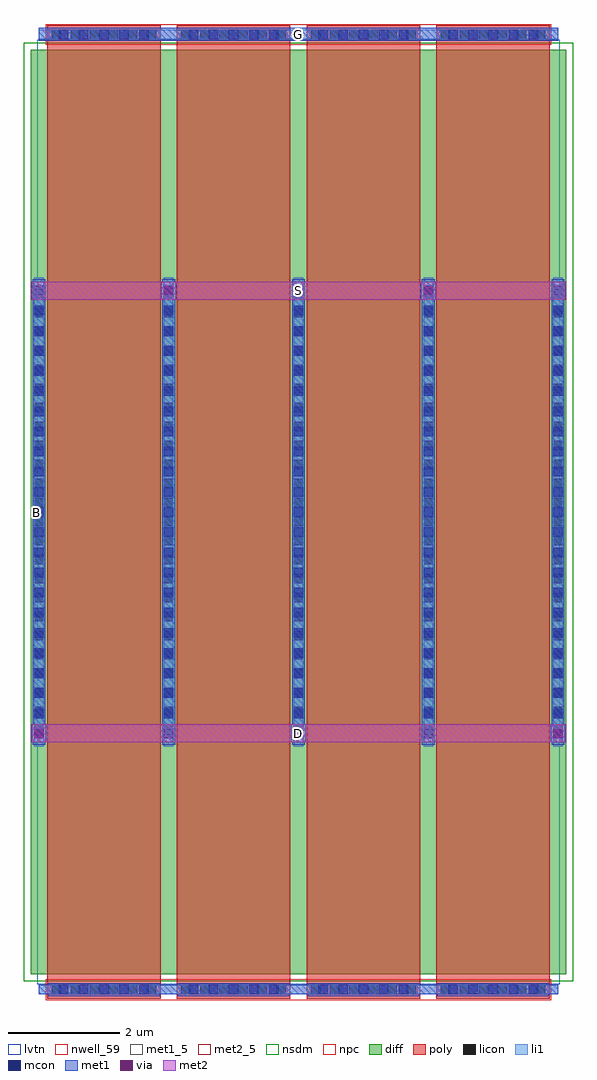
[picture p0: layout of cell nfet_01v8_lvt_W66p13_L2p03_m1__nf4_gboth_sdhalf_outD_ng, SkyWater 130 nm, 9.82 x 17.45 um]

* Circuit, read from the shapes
.subckt nfet_01v8_lvt_W66p13_L2p03_m1__nf4_gboth_sdhalf_outD_ng B D G S
XM1 S G D B sky130_fd_pr__nfet_01v8_lvt w=16.53 l=2.03 m=4
.ends

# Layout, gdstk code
import gdstk
lib = gdstk.Library(unit=1e-6, precision=1e-09)
def R(c, l, rs):  # rectangles x0, y0, x1, y1
    for r in rs: c.add(gdstk.rectangle(r[:2], r[2:], *l))
def A(c, l, x, y, w, h, nx, ny, dx, dy):  # array of equal rectangles
    R(c, l, [(x+i*dx, y+j*dy, x+i*dx+w, y+j*dy+h) for i in range(nx) for j in range(ny)])
nwell_59 = (64, 59)
diff = (65, 20)
poly = (66, 20)
licon = (66, 44)
li1 = (67, 20)
mcon = (67, 44)
met1_5 = (68, 5)
met1 = (68, 20)
via = (68, 44)
met2_5 = (69, 5)
met2 = (69, 20)
nsdm = (93, 44)
npc = (95, 20)
lvtn = (125, 44)

sky130_fd_pr__nfet_01v8_ = lib.new_cell('sky130_fd_pr__nfet_01v8_lvt_AA3YVK')
R(sky130_fd_pr__nfet_01v8_, diff, [(-4.785,-8.265,4.785,8.265)])
A(sky130_fd_pr__nfet_01v8_, poly, -4.495, -8.705, 2.03, 17.41, 4, 1, 2.32, 0)
A(sky130_fd_pr__nfet_01v8_, licon, -4.415, -8.625, 0.17, 0.17, 6, 2, 0.34, 17.08)
A(sky130_fd_pr__nfet_01v8_, licon, -2.095, -8.625, 0.17, 0.17, 6, 2, 0.34, 17.08)
A(sky130_fd_pr__nfet_01v8_, licon, 0.225, -8.625, 0.17, 0.17, 6, 2, 0.34, 17.08)
A(sky130_fd_pr__nfet_01v8_, licon, 2.545, -8.625, 0.17, 0.17, 6, 2, 0.34, 17.08)
A(sky130_fd_pr__nfet_01v8_, licon, -4.725, -3.995, 0.17, 0.17, 5, 24, 2.32, 0.34)
A(sky130_fd_pr__nfet_01v8_, li1, -4.725, -4.185, 0.17, 8.37, 5, 1, 2.32, 0)
R(sky130_fd_pr__nfet_01v8_, li1, [(-4.64,-8.625,4.64,-8.455), (-4.64,8.455,4.64,8.625)])
A(sky130_fd_pr__nfet_01v8_, mcon, -4.285, -8.625, 0.17, 0.17, 5, 2, 0.36, 17.08)
A(sky130_fd_pr__nfet_01v8_, mcon, -1.965, -8.625, 0.17, 0.17, 5, 2, 0.36, 17.08)
A(sky130_fd_pr__nfet_01v8_, mcon, 0.355, -8.625, 0.17, 0.17, 5, 2, 0.36, 17.08)
A(sky130_fd_pr__nfet_01v8_, mcon, 2.675, -8.625, 0.17, 0.17, 5, 2, 0.36, 17.08)
A(sky130_fd_pr__nfet_01v8_, mcon, -4.725, -4.045, 0.17, 0.17, 5, 23, 2.32, 0.36)
A(sky130_fd_pr__nfet_01v8_, met1, -4.475, -8.655, 1.99, 0.03, 4, 2, 2.32, 0.2)
A(sky130_fd_pr__nfet_01v8_, met1, -4.755, -4.165, 0.23, 8.33, 5, 1, 2.32, 0)
A(sky130_fd_pr__nfet_01v8_, met1, -4.475, 8.425, 1.99, 0.03, 4, 2, 2.32, 0.2)
R(sky130_fd_pr__nfet_01v8_, met1, [(-4.64,-8.625,4.64,-8.455), (-4.64,8.455,4.64,8.625)])
R(sky130_fd_pr__nfet_01v8_, nsdm, [(-4.91,-8.39,4.91,8.39)])
R(sky130_fd_pr__nfet_01v8_, npc, [(-4.515,-8.725,4.515,-8.355), (-4.515,8.355,4.515,8.725)])
R(sky130_fd_pr__nfet_01v8_, lvtn, [(-4.675,-8.445,4.675,8.445)])
sky130_fd_pr__nfet_01v8_.add(gdstk.Label('D0', (-4.64,0), layer=67, texttype=5))
sky130_fd_pr__nfet_01v8_.add(gdstk.Label('G', (3.48,8.54), layer=67, texttype=5))
sky130_fd_pr__nfet_01v8_.add(gdstk.Label('G', (1.16,8.54), layer=67, texttype=5))
sky130_fd_pr__nfet_01v8_.add(gdstk.Label('G', (-1.16,8.54), layer=67, texttype=5))
sky130_fd_pr__nfet_01v8_.add(gdstk.Label('G', (-3.48,8.54), layer=67, texttype=5))
sky130_fd_pr__nfet_01v8_.add(gdstk.Label('S1', (-2.32,0), layer=67, texttype=5))
sky130_fd_pr__nfet_01v8_.add(gdstk.Label('D2', (0,0), layer=67, texttype=5))
sky130_fd_pr__nfet_01v8_.add(gdstk.Label('S3', (2.32,0), layer=67, texttype=5))

nfet_01v8_lvt_w66p13_l2p = lib.new_cell('nfet_01v8_lvt_W66p13_L2p03_m1__nf4_gboth_sdhalf_outD_ng')
R(nfet_01v8_lvt_w66p13_l2p, nwell_59, [(0.05,8.655,0.15,8.755)])
R(nfet_01v8_lvt_w66p13_l2p, met1_5, [(0.145,17.13,9.425,17.36)])
A(nfet_01v8_lvt_w66p13_l2p, met1, 0.015, 4.59, 0.26, 0.32, 3, 1, 4.64, 0)
R(nfet_01v8_lvt_w66p13_l2p, met1, [(2.335,12.5,2.595,12.82), (6.975,12.5,7.235,12.82), (0.145,17.13,9.425,17.36)])
A(nfet_01v8_lvt_w66p13_l2p, via, 0.07, 4.675, 0.15, 0.15, 3, 1, 4.64, 0)
R(nfet_01v8_lvt_w66p13_l2p, via, [(2.39,12.585,2.54,12.735), (7.03,12.585,7.18,12.735)])
R(nfet_01v8_lvt_w66p13_l2p, met2_5, [(0.01,4.59,9.56,4.91), (0.01,12.5,9.56,12.82)])
R(nfet_01v8_lvt_w66p13_l2p, met2, [(0.01,4.59,9.56,4.91), (0.01,12.5,9.56,12.82)])
nfet_01v8_lvt_w66p13_l2p.add(gdstk.Reference(sky130_fd_pr__nfet_01v8_, (4.785,8.705)))
nfet_01v8_lvt_w66p13_l2p.add(gdstk.Label('S', (4.785,12.66), layer=69, texttype=5))
nfet_01v8_lvt_w66p13_l2p.add(gdstk.Label('D', (4.785,4.75), layer=69, texttype=5))
nfet_01v8_lvt_w66p13_l2p.add(gdstk.Label('G', (4.785,17.245), layer=68, texttype=5))
nfet_01v8_lvt_w66p13_l2p.add(gdstk.Label('B', (0.1,8.705), layer=64, texttype=59))

lib.write_gds('nfet_01v8_lvt_W66p13_L2p03_m1__nf4_gboth_sdhalf_outD_ng.gds')
